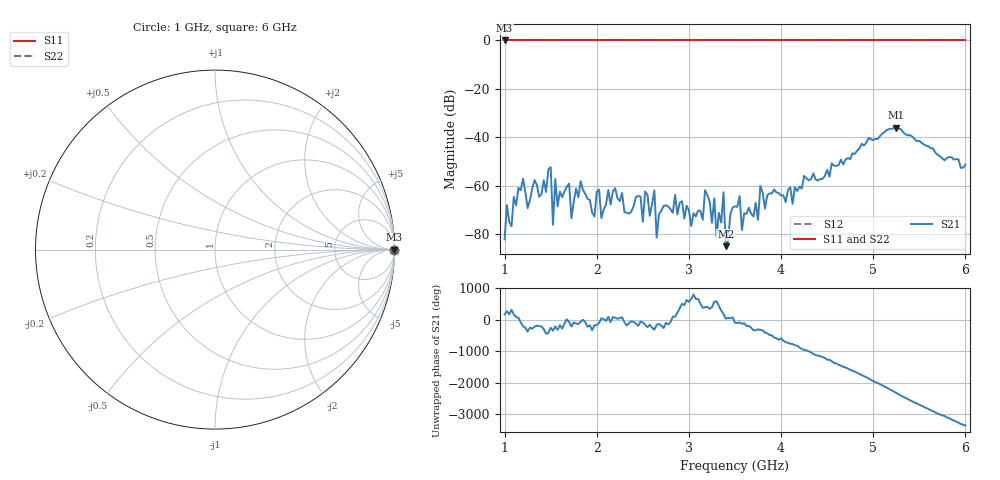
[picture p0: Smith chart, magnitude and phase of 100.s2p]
!Keysight Technologies N9926A: A.08.19
!Date: Sunday, 01 March 2026 13:38:58
!Timezone: (GMT-06:00) Central Time (US & Canada)
!Model: N9926A
!Serial: MY53102721
!GPS Latitude:
!GPS Longitude:
!GPS TimeStamp: 0001-01-01 00:00:00Z
!GPS Seconds Since Last Read: 0
!CHECKSUM:1708753929
!Correction: S11()S21(ON U)S12()S22()
!S2P File: Measurements:S11,S21,S12,S22:
# Hz S DB R 50
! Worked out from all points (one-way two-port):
!   201 points, 1 GHz to 6 GHz, reference 50 ohm
!   highest |S21| = -36.08 dB at 5.25 GHz (marker M1); lowest = -85.1 dB at 3.4 GHz (marker M2)
!   lowest |S11| = 0.0 dB at 1 GHz (marker M3)
!   |S11| at or under -10 dB: nowhere
!   |S22| runs from 0.0 to 0.0 dB; largest |S21 - S12| = 1
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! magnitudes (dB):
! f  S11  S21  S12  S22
! 1 GHz  0.0  -82.2  0.0  0.0
! 1.2 GHz  0.0  -57.2  0.0  0.0
! 1.25 GHz  0.0  -69.3  0.0  0.0
! 1.5 GHz  0.0  -52.4  0.0  0.0
! 1.525 GHz  0.0  -76.2  0.0  0.0
! 1.55 GHz  0.0  -57.3  0.0  0.0
! 1.7 GHz  0.0  -59.2  0.0  0.0
! 1.725 GHz  0.0  -73.5  0.0  0.0
! 1.85 GHz  0.0  -61.8  0.0  0.0
! 2.675 GHz  0.0  -71.9  0.0  0.0
! 3.025 GHz  0.0  -76.7  0.0  0.0
! 3.175 GHz  0.0  -61.9  0.0  0.0
! 3.275 GHz  0.0  -65.3  0.0  0.0
! 3.3 GHz  0.0  -81.0  0.0  0.0
! 3.375 GHz  0.0  -62.8  0.0  0.0
! 3.4 GHz  0.0  -85.1  0.0  0.0
! 3.5 GHz  0.0  -68.6  0.0  0.0
! 3.575 GHz  0.0  -78.4  0.0  0.0
! 4.35 GHz  0.0  -54.9  0.0  0.0
! 5.175 GHz  0.0  -36.6  0.0  0.0
! 5.25 GHz  0.0  -36.1  0.0  0.0
! 6 GHz  0.0  -51.4  0.0  0.0
